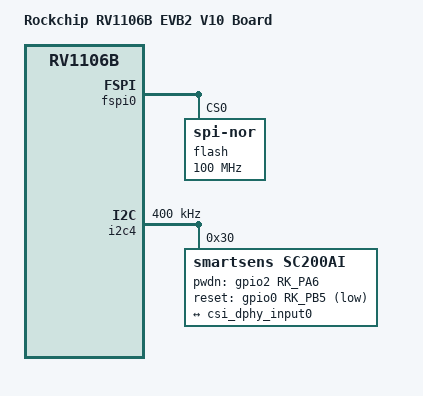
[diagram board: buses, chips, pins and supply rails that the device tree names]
// SPDX-License-Identifier: (GPL-2.0+ OR MIT)
/*
 * Copyright (c) 2026 Rockchip Electronics Co., Ltd.
 */

/dts-v1/;

#include "rv1106b.dtsi"
#include "rv1106b-evb2-v10.dtsi"
#include "rv1106b-thunder-boot-cam.dtsi"
#include "rv1106b-thunder-boot-spi-nor.dtsi"

/ {
	model = "Rockchip RV1106B EVB2 V10 Board";
	compatible = "rockchip,rv1106b-evb2-v10", "rockchip,rv1106b";

	chosen {
		bootargs = "loglevel=0 earlycon=uart8250,mmio32,0x20540000 console=ttyFIQ0 root=/dev/rd0 rootfstype=erofs rootflags=dax snd_soc_core.prealloc_buffer_size_kbytes=16 coherent_pool=32K";
	};
};

&fspi0 {
	status = "okay";

	flash@0 {
		compatible = "jedec,spi-nor";
		reg = <0>;
		spi-max-frequency = <100000000>;
		spi-rx-bus-width = <4>;
		spi-tx-bus-width = <1>;
	};
};

&i2c4 {
	clock-frequency = <400000>;
	pinctrl-names = "default";
	pinctrl-0 = <&i2c4m1_xfer_pins>;
	rockchip,amp-shared;
	status = "okay";

	sc200ai: sc200ai@30 {
		compatible = "smartsens,sc200ai";
		reg = <0x30>;
		clocks = <&cru CLK_MIPI0_OUT2IO>;
		clock-names = "xvclk";
		pwdn-gpios = <&gpio2 RK_PA6 GPIO_ACTIVE_HIGH>;
		reset-gpios = <&gpio0 RK_PB5 GPIO_ACTIVE_LOW>;
		pinctrl-names = "default";
		pinctrl-0 = <&cam_clk0_pins>;
		rockchip,camera-module-index = <0>;
		rockchip,camera-module-facing = "back";
		rockchip,camera-module-name = "default";
		rockchip,camera-module-lens-name = "default";

		port {
			cam0_out: endpoint {
				remote-endpoint = <&csi_dphy_input0>;
				data-lanes = <1 2>;
			};
		};
	};
};

&rkisp_thunderboot {
	/* reg's offset MUST match with RTOS */
	/*
	 * vicap, capture raw10, ceil(w*10/8/256)*256*h *4(buf num) + sizeof(rkisp_thunderboot_resmem_head)
	 * In RV1103B the size of rkisp_thunderboot_resmem_head is 0x9000, and it is 0x6000 in RV1103/RV1106
	 * e.g. 1920x1080: 0xa8c000(size of raw picture) + 0x9000
	 */
	reg = <0x00860000 0xa95000>;
};

&ramdisk_r {
	reg = <0x012f5000 (10 * 0x00100000)>;
};

&ramdisk_c {
	reg = <0x01cf5000 (5 * 0x00100000)>;
};
